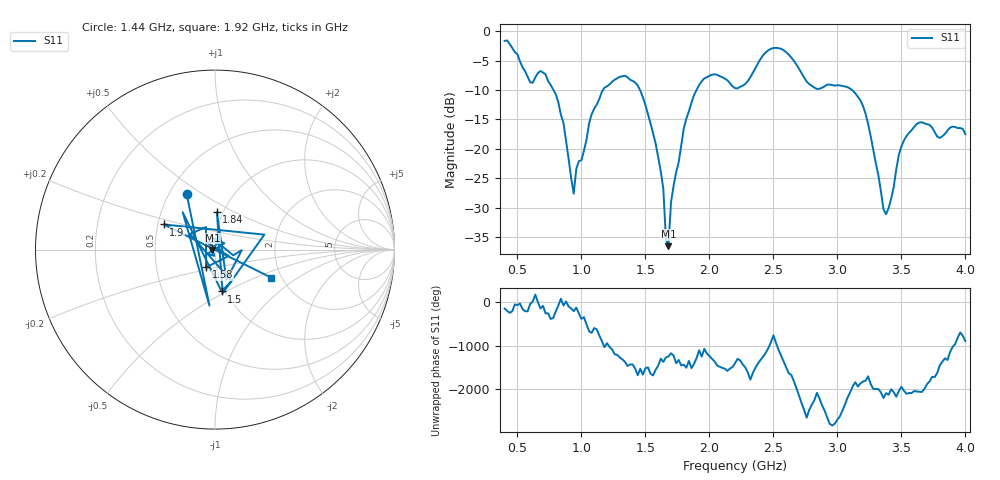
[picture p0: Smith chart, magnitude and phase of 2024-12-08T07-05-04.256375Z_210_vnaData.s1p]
!Created with skrf (http://scikit-rf.org).
# Hz S RI R 50.0
!freq ReS11 ImS11
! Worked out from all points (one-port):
!   181 points, 400 MHz to 4 GHz, reference 50 ohm
!   lowest |S11| = -36.6 dB at 1.68 GHz (marker M1), VSWR 1.03, Z = 48.6 - j0.229 ohm
!   |S11| at or under -10 dB: 781.6 MHz to 1.168 GHz (386.6 MHz wide, 39.7 % of centre); 1.458 GHz to 1.899 GHz (440.8 MHz wide, 26.3 % of centre); 3.115 GHz to end of sweep
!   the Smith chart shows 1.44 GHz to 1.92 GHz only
!   S11 on the Smith chart (normalised r, x): 1.44 GHz: 0.61, +0.43; 1.5 GHz: 0.96, -0.47; 1.58 GHz: 0.89, -0.18; 1.84 GHz: 0.94, +0.41; 1.9 GHz: 0.54, +0.17; 1.92 GHz: 1.77, -0.63
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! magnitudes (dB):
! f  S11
! 400 MHz  -1.6
! 600 MHz  -8.7
! 720 MHz  -7.3
! 860 MHz  -15.6
! 940 MHz  -27.6
! 1.08 GHz  -14.1
! 1.3 GHz  -7.7
! 1.44 GHz  -9.2
! 1.5 GHz  -12.5
! 1.58 GHz  -19.1
! 1.64 GHz  -26.8
! 1.66 GHz  -35.3
! 1.68 GHz  -36.6
! 1.7 GHz  -29.1
! 1.76 GHz  -22.3
! 1.84 GHz  -13.6
! 1.9 GHz  -10.0
! 1.92 GHz  -9.1
! 2.2 GHz  -9.7
! 2.48 GHz  -3.0
! 2.66 GHz  -5.0
! 2.84 GHz  -9.8
! 3.1 GHz  -9.8
! 3.22 GHz  -14.0
! 3.38 GHz  -31.1
! 3.48 GHz  -21.0
! 3.56 GHz  -17.3
! 4 GHz  -17.5
